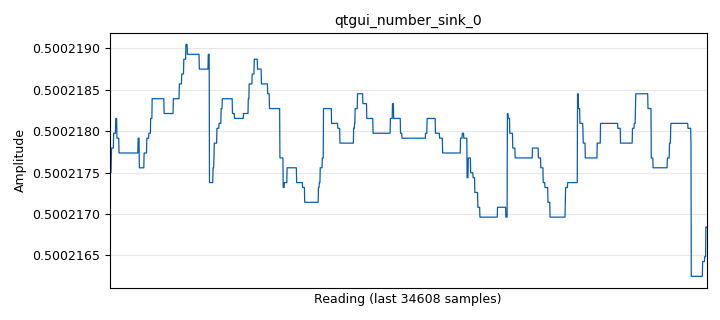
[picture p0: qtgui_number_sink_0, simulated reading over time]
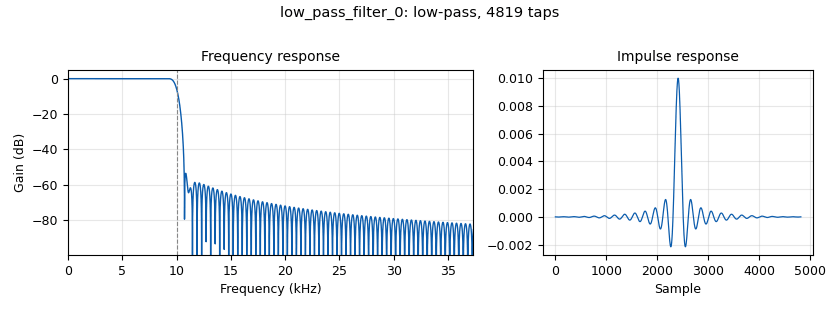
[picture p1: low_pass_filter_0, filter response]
options:
  parameters:
    author: Bauti
    generate_options: qt_gui
    id: TPAMa
    output_language: python
    title: Not titled yet
  states: {}

blocks:
- name: m
  id: variable
  parameters:
    value: '0.5'
  states: {state: disabled}
- name: m
  id: variable_qtgui_range
  parameters:
    label: Indice de Modulación
    start: '0'
    step: '0.01'
    stop: '1'
    value: '0.5'
  states: {}
- name: samp_rate
  id: variable
  parameters:
    value: 2e6
  states: {}
- name: variable_low_pass_filter_taps_1
  id: variable_low_pass_filter_taps
  parameters:
    cutoff_freq: '20000'
    gain: '2'
    samp_rate: samp_rate
    width: '10000'
    win: window.WIN_HAMMING
  states: {}
- name: analog_sig_source_x_0
  id: analog_sig_source_x
  parameters:
    amp: '1'
    freq: '1000'
    offset: '0'
    phase: '0'
    samp_rate: samp_rate
    type: float
    waveform: analog.GR_COS_WAVE
  states: {}
- name: analog_sig_source_x_1
  id: analog_sig_source_x
  parameters:
    amp: '1'
    freq: 100e3
    offset: '0'
    phase: '0'
    samp_rate: samp_rate
    type: float
    waveform: analog.GR_COS_WAVE
  states: {}
- name: analog_sig_source_x_1_0
  id: analog_sig_source_x
  parameters:
    amp: '1'
    freq: 100e3
    offset: '0'
    phase: '0'
    samp_rate: samp_rate
    type: float
    waveform: analog.GR_COS_WAVE
  states: {}
- name: blocks_add_const_vxx_0
  id: blocks_add_const_vxx
  parameters:
    const: '1'
    type: float
  states: {}
- name: blocks_add_xx_0
  id: blocks_add_xx
  parameters:
    type: float
  states: {state: disabled}
- name: blocks_divide_xx_0
  id: blocks_divide_xx
  parameters:
    type: float
  states: {}
- name: blocks_moving_average_xx_0
  id: blocks_moving_average_xx
  parameters:
    length: '10000'
    max_iter: '4000'
    scale: 1/10000
    type: float
  states: {}
- name: blocks_multiply_const_vxx_0
  id: blocks_multiply_const_vxx
  parameters:
    const: m
    type: float
  states: {}
- name: blocks_multiply_xx_0
  id: blocks_multiply_xx
  parameters:
    type: float
  states: {}
- name: blocks_multiply_xx_1
  id: blocks_multiply_xx
  parameters:
    type: float
  states: {}
- name: blocks_peak_detector_xb_0
  id: blocks_peak_detector_xb
  parameters:
    alpha: '1'
    look_ahead: '1'
    threshold_factor_fall: '1'
    threshold_factor_rise: '1'
    type: float
  states: {}
- name: blocks_sample_and_hold_xx_0
  id: blocks_sample_and_hold_xx
  parameters:
    type: float
  states: {}
- name: blocks_sub_xx_0
  id: blocks_sub_xx
  parameters:
    type: float
  states: {}
- name: blocks_throttle2_0
  id: blocks_throttle2
  parameters:
    samples_per_second: samp_rate
    type: float
  states: {}
- name: blocks_throttle2_0_0
  id: blocks_throttle2
  parameters:
    samples_per_second: samp_rate
    type: float
  states: {}
- name: import_0
  id: import
  parameters:
    imports: import numpy as np
  states: {}
- name: low_pass_filter_0
  id: low_pass_filter
  parameters:
    cutoff_freq: 10e3
    gain: '1'
    interp: '1'
    samp_rate: samp_rate
    type: interp_fir_filter_fff
    width: 1e3
    win: window.WIN_HAMMING
  states: {}
- name: note_0
  id: note
  parameters:
    note: Detector Sincronico
  states: {}
- name: note_0_0
  id: note
  parameters:
    note: Generador AM
  states: {}
- name: qtgui_number_sink_0
  id: qtgui_number_sink
  parameters:
    color1: ("black", "red")
    graph_type: qtgui.NUM_GRAPH_HORIZ
    min: '0'
    type: float
  states: {}
- name: qtgui_time_sink_x_0
  id: qtgui_time_sink_x
  parameters:
    ctrlpanel: 'True'
    size: '1024'
    srate: samp_rate
    tr_mode: qtgui.TRIG_MODE_AUTO
    type: float
  states: {state: disabled}
- name: virtual_sink_0
  id: virtual_sink
  parameters:
    stream_id: AM
  states: {}
- name: virtual_source_0
  id: virtual_source
  parameters:
    stream_id: AM
  states: {}

connections:
- [analog_sig_source_x_0, '0', blocks_multiply_const_vxx_0, '0']
- [analog_sig_source_x_1, '0', blocks_throttle2_0, '0']
- [analog_sig_source_x_1_0, '0', blocks_multiply_xx_1, '0']
- [blocks_add_const_vxx_0, '0', blocks_multiply_xx_0, '0']
- [blocks_divide_xx_0, '0', qtgui_number_sink_0, '0']
- [blocks_moving_average_xx_0, '0', blocks_divide_xx_0, '1']
- [blocks_moving_average_xx_0, '0', blocks_sub_xx_0, '1']
- [blocks_multiply_const_vxx_0, '0', blocks_add_const_vxx_0, '0']
- [blocks_multiply_xx_0, '0', qtgui_time_sink_x_0, '0']
- [blocks_multiply_xx_0, '0', virtual_sink_0, '0']
- [blocks_multiply_xx_1, '0', low_pass_filter_0, '0']
- [blocks_peak_detector_xb_0, '0', blocks_sample_and_hold_xx_0, '1']
- [blocks_sample_and_hold_xx_0, '0', blocks_sub_xx_0, '0']
- [blocks_sub_xx_0, '0', blocks_divide_xx_0, '0']
- [blocks_throttle2_0, '0', blocks_multiply_xx_0, '1']
- [blocks_throttle2_0_0, '0', blocks_multiply_xx_1, '1']
- [low_pass_filter_0, '0', blocks_moving_average_xx_0, '0']
- [low_pass_filter_0, '0', blocks_peak_detector_xb_0, '0']
- [low_pass_filter_0, '0', blocks_sample_and_hold_xx_0, '0']
- [virtual_source_0, '0', blocks_throttle2_0_0, '0']

metadata:
  file_format: 1
  grc_version: 3.10.12.0
